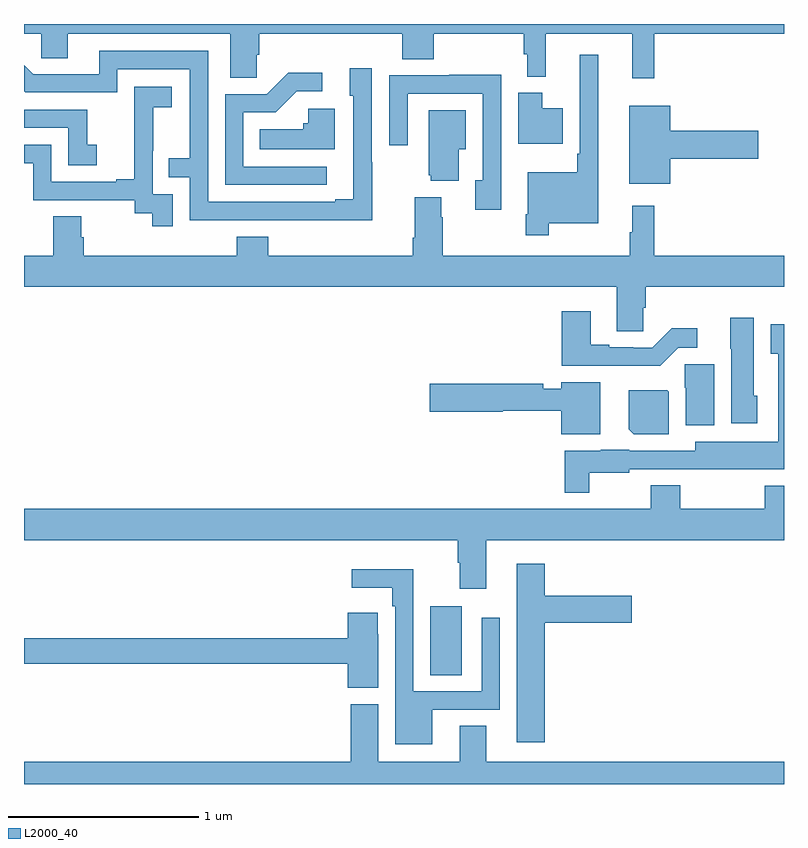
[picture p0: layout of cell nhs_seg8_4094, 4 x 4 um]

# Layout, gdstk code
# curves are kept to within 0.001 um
import gdstk
lib = gdstk.Library(unit=1e-6, precision=1e-09)
def R(c, l, rs):  # rectangles x0, y0, x1, y1
    for r in rs: c.add(gdstk.rectangle(r[:2], r[2:], *l))
def P(c, l, *ps):  # polygons
    for p in ps: c.add(gdstk.Polygon(p, *l))
L2000_40 = (2000, 40)

nhs_seg8_4094 = lib.new_cell('nhs_seg8_4094')
R(nhs_seg8_4094, L2000_40, [(365.138,1098.472,365.305,1098.835)])
P(nhs_seg8_4094, L2000_40, [(366.317,1101.848),(367,1101.848),(367,1101.9),(363,1101.9),(363,1101.848),(363.09,1101.848),(363.09,1101.721),(363.229,1101.721),(363.229,1101.848),(364.085,1101.848),(364.085,1101.616),(364.224,1101.616),(364.224,1101.739),(364.238,1101.739),(364.238,1101.848),(364.991,1101.848),(364.991,1101.715),(365.156,1101.715),(365.156,1101.848),(365.629,1101.848),(365.629,1101.741),(365.648,1101.741),(365.648,1101.623),(365.747,1101.623),(365.747,1101.848),(366.2,1101.848),(366.2,1101.615),(366.317,1101.615)],
  [(364.833,1101.173),(364.83,1101.173),(364.83,1101.667),(364.715,1101.667),(364.715,1101.522),(364.734,1101.522),(364.734,1100.977),(364.637,1100.977),(364.637,1100.964),(363.969,1100.964),(363.969,1101.759),(363.395,1101.759),(363.395,1101.636),(363.048,1101.636),(363,1101.684),(363,1101.546),(363.006,1101.54),(363.492,1101.54),(363.492,1101.663),(363.873,1101.663),(363.873,1101.194),(363.763,1101.194),(363.763,1101.093),(363.873,1101.093),(363.873,1100.868),(364.833,1100.867)],
  [(365.761,1100.852),(366.022,1100.852),(366.022,1101.739),(365.925,1101.739),(365.925,1101.217),(365.913,1101.217),(365.913,1101.121),(365.652,1101.121),(365.652,1100.899),(365.64,1100.899),(365.64,1100.787),(365.761,1100.787)],
  [(364.594,1101.15),(364.155,1101.15),(364.155,1101.435),(364.324,1101.435),(364.435,1101.546),(364.57,1101.546),(364.57,1101.644),(364.391,1101.644),(364.278,1101.531),(364.059,1101.531),(364.059,1101.054),(364.594,1101.054)],
  [(365.512,1101.166),(365.511,1101.166),(365.511,1101.632),(365.239,1101.632),(365.239,1101.63),(364.923,1101.63),(364.923,1101.261),(365.019,1101.261),(365.019,1101.534),(365.415,1101.534),(365.415,1101.078),(365.375,1101.078),(365.375,1100.922),(365.512,1100.922)],
  [(363.783,1101.003),(363.678,1101.003),(363.678,1101.233),(363.68,1101.233),(363.68,1101.461),(363.778,1101.461),(363.778,1101.571),(363.58,1101.571),(363.58,1101.365),(363.581,1101.365),(363.581,1101.082),(363.485,1101.082),(363.485,1101.069),(363.144,1101.069),(363.144,1101.264),(363,1101.264),(363,1101.168),(363.048,1101.168),(363.048,1100.973),(363.582,1100.973),(363.582,1100.905),(363.675,1100.905),(363.675,1100.835),(363.783,1100.835)],
  [(365.836,1101.457),(365.728,1101.457),(365.728,1101.538),(365.6,1101.538),(365.6,1101.269),(365.836,1101.269)],
  [(366.4,1101.191),(366.865,1101.191),(366.865,1101.338),(366.4,1101.338),(366.4,1101.469),(366.185,1101.469),(366.185,1101.059),(366.4,1101.059)],
  [(364.636,1101.454),(364.497,1101.454),(364.497,1101.378),(364.471,1101.378),(364.471,1101.346),(364.24,1101.346),(364.24,1101.242),(364.636,1101.242)],
  [(363.382,1101.265),(363.333,1101.265),(363.333,1101.45),(363,1101.45),(363,1101.354),(363.234,1101.354),(363.234,1101.156),(363.382,1101.156)],
  [(365.287,1101.242),(365.326,1101.242),(365.326,1101.445),(365.129,1101.445),(365.129,1101.105),(365.141,1101.105),(365.141,1101.074),(365.287,1101.074)],
  [(366.258,1100.406),(366.272,1100.406),(366.272,1100.516),(367,1100.516),(367,1100.68),(366.317,1100.68),(366.317,1100.944),(366.2,1100.944),(366.2,1100.804),(366.189,1100.804),(366.189,1100.68),(365.205,1100.68),(365.205,1100.882),(365.197,1100.882),(365.197,1100.989),(365.057,1100.989),(365.057,1100.776),(365.045,1100.776),(365.045,1100.68),(364.286,1100.68),(364.286,1100.779),(364.121,1100.779),(364.121,1100.68),(363.314,1100.68),(363.314,1100.778),(363.301,1100.778),(363.301,1100.888),(363.154,1100.888),(363.154,1100.68),(363,1100.68),(363,1100.516),(366.119,1100.516),(366.119,1100.284),(366.258,1100.284)],
  [(366.444,1100.196),(366.544,1100.196),(366.544,1100.299),(366.409,1100.299),(366.306,1100.196),(366.206,1100.196),(366.206,1100.199),(366.079,1100.199),(366.079,1100.212),(365.983,1100.212),(365.983,1100.389),(365.831,1100.389),(365.831,1100.102),(366.349,1100.102)],
  [(366.859,1099.944),(366.841,1099.944),(366.841,1100.353),(366.716,1100.353),(366.716,1100.19),(366.722,1100.19),(366.722,1099.8),(366.859,1099.8)],
  [(365.974,1099.538),(366.186,1099.538),(366.186,1099.557),(366.637,1099.557),(366.637,1099.556),(367,1099.556),(367,1100.32),(366.929,1100.32),(366.929,1100.164),(366.969,1100.164),(366.969,1099.702),(366.533,1099.702),(366.533,1099.653),(366.186,1099.653),(366.186,1099.66),(366.036,1099.66),(366.036,1099.654),(365.845,1099.654),(365.845,1099.433),(365.974,1099.433)],
  [(366.634,1100.109),(366.478,1100.109),(366.478,1099.986),(366.482,1099.986),(366.482,1099.787),(366.634,1099.787)],
  [(366.034,1100.014),(365.828,1100.014),(365.828,1099.98),(365.732,1099.98),(365.732,1100.006),(365.136,1100.006),(365.136,1099.859),(365.52,1099.859),(365.52,1099.864),(365.828,1099.864),(365.828,1099.742),(366.034,1099.742)],
  [(366.394,1099.964),(366.386,1099.972),(366.182,1099.972),(366.182,1099.768),(366.208,1099.742),(366.394,1099.742)],
  [(365.434,1099.184),(367,1099.184),(367,1099.471),(366.898,1099.471),(366.898,1099.348),(366.453,1099.348),(366.453,1099.472),(366.298,1099.472),(366.298,1099.348),(363,1099.348),(363,1099.184),(365.282,1099.184),(365.282,1099.064),(365.294,1099.064),(365.294,1098.927),(365.434,1098.927)],
  [(365.741,1098.749),(366.199,1098.749),(366.199,1098.891),(365.741,1098.891),(365.741,1099.06),(365.594,1099.06),(365.594,1098.12),(365.741,1098.12)],
  [(365.149,1098.291),(365.505,1098.291),(365.505,1098.775),(365.409,1098.775),(365.409,1098.387),(365.049,1098.387),(365.049,1099.03),(364.725,1099.03),(364.725,1098.932),(364.937,1098.932),(364.937,1098.836),(364.953,1098.836),(364.953,1098.11),(365.149,1098.11)],
  [(364.864,1098.689),(364.863,1098.689),(364.863,1098.802),(364.703,1098.802),(364.703,1098.668),(363,1098.668),(363,1098.532),(364.703,1098.532),(364.703,1098.406),(364.864,1098.406)],
  [(367,1098.016),(365.434,1098.016),(365.434,1098.206),(365.294,1098.206),(365.294,1098.016),(364.864,1098.016),(364.864,1098.321),(364.721,1098.321),(364.721,1098.016),(363,1098.016),(363,1097.9),(367,1097.9)])

lib.write_gds('nhs_seg8_4094.gds')
